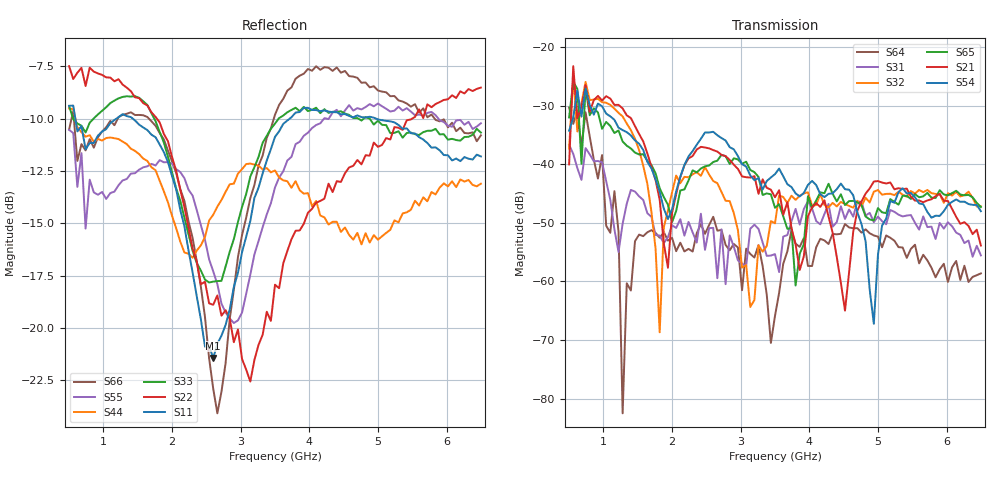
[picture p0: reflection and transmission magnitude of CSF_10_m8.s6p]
!Keysight Technologies,M9804A,MY58100912,A.14.10.03
!Date: Thursday, April 27, 2023 10:28:33
!Correction: S11(C  6-Port  )
!S12(C  6-Port  )
!S13(C  6-Port  )
!S14(C  6-Port  )
!S15(C  6-Port  )
!S16(C  6-Port  )
!S21(C  6-Port  )
!S22(C  6-Port  )
!S23(C  6-Port  )
!S24(C  6-Port  )
!S25(C  6-Port  )
!S26(C  6-Port  )
!S31(C  6-Port  )
!S32(C  6-Port  )
!S33(C  6-Port  )
!S34(C  6-Port  )
!S35(C  6-Port  )
!S36(C  6-Port  )
!S41(C  6-Port  )
!S42(C  6-Port  )
!S43(C  6-Port  )
!S44(C  6-Port  )
!S45(C  6-Port  )
!S46(C  6-Port  )
!S51(C  6-Port  )
!S52(C  6-Port  )
!S53(C  6-Port  )
!S54(C  6-Port  )
!S55(C  6-Port  )
!S56(C  6-Port  )
!S61(C  6-Port  )
!S62(C  6-Port  )
!S63(C  6-Port  )
!S64(C  6-Port  )
!S65(C  6-Port  )
!S66(C  6-Port  )
!S6P File: Measurement: :
# Hz S  RI  R 50
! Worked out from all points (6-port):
!   101 points, 500 MHz to 6.5 GHz, reference 50 ohm
!   strongest paths, dB at 500 MHz, 2 GHz, 3.5 GHz, 5 GHz, 6.5 GHz:
!     S54: -34.3, -47.7, -41.7, -55.5, -48.0
!     S21: -40.0, -48.3, -45.7, -42.9, -53.9
!     S65: -32.0, -49.9, -47.4, -47.5, -47.3
!     S32: -37.3, -44.8, -50.1, -44.4, -47.2
!     S31: -36.7, -50.4, -55.4, -49.0, -55.6
!     S64: -30.3, -52.6, -65.9, -52.4, -58.6
!   lowest |S11| = -21.4 dB at 2.6 GHz (marker M1), VSWR 1.19, Z = 42.5 + j2.2 ohm
!   |S11| at or under -10 dB: 590.3 MHz to 1.188 GHz (597.7 MHz wide, 67.2 % of centre); 1.428 GHz to 3.714 GHz (2.285 GHz wide, 88.9 % of centre); 4.974 GHz to end of sweep
